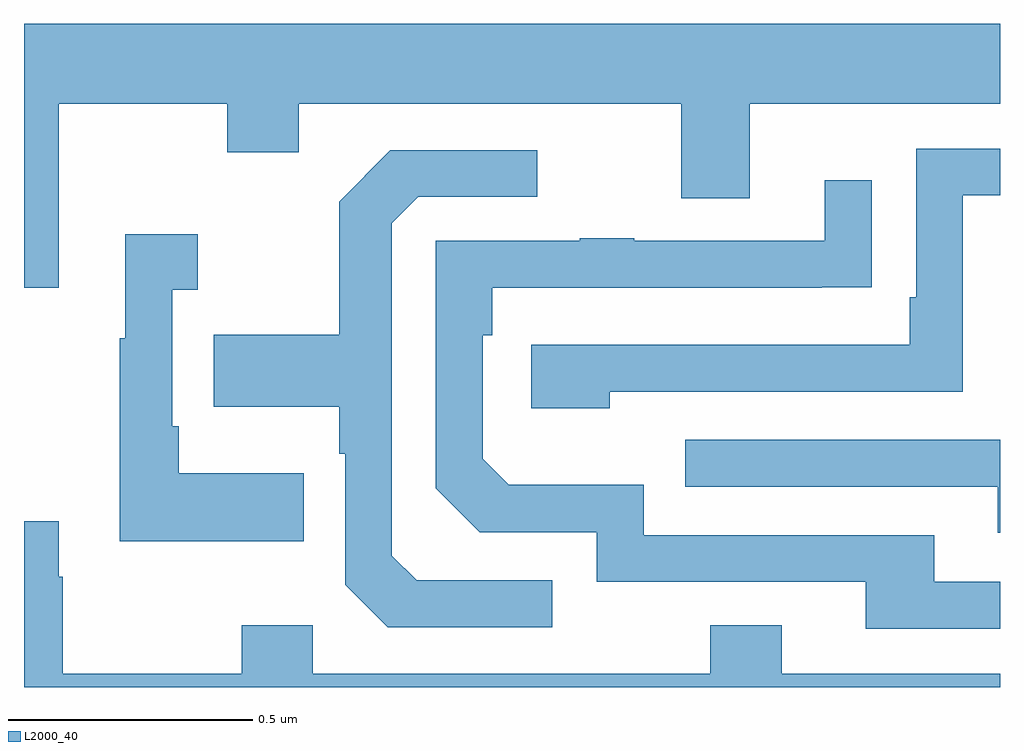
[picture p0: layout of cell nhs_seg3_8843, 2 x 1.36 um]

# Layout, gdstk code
import gdstk
lib = gdstk.Library(unit=1e-6, precision=1e-09)
def P(c, l, *ps):  # polygons
    for p in ps: c.add(gdstk.Polygon(p, *l))
L2000_40 = (2000, 40)

nhs_seg3_8843 = lib.new_cell('nhs_seg3_8843')
P(nhs_seg3_8843, L2000_40, [(221.071,687.596),(221.416,687.596),(221.416,687.497),(221.563,687.497),(221.563,687.596),(222.347,687.596),(222.347,687.402),(222.487,687.402),(222.487,687.596),(223,687.596),(223,687.76),(221,687.76),(221,687.219),(221.071,687.219)],
  [(222.2,687.006),(222.924,687.006),(222.924,687.408),(223,687.408),(223,687.504),(222.828,687.504),(222.828,687.199),(222.815,687.199),(222.815,687.102),(222.039,687.102),(222.039,686.972),(222.2,686.972)],
  [(222.082,686.619),(221.805,686.619),(221.754,686.67),(221.754,687.351),(221.808,687.405),(222.052,687.405),(222.052,687.501),(221.751,687.501),(221.646,687.395),(221.646,687.123),(221.389,687.123),(221.389,686.975),(221.646,686.975),(221.646,686.879),(221.658,686.879),(221.658,686.61),(221.745,686.523),(222.082,686.523)],
  [(223,686.616),(222.865,686.616),(222.865,686.712),(222.27,686.712),(222.27,686.815),(221.993,686.815),(221.94,686.868),(221.94,687.122),(221.96,687.122),(221.96,687.219),(222.635,687.219),(222.635,687.22),(222.737,687.22),(222.737,687.439),(222.641,687.439),(222.641,687.315),(222.251,687.315),(222.251,687.32),(222.139,687.32),(222.139,687.315),(221.844,687.315),(221.844,686.808),(221.934,686.718),(222.174,686.718),(222.174,686.616),(222.725,686.616),(222.725,686.52),(223,686.52)],
  [(221.573,686.839),(221.317,686.839),(221.317,686.935),(221.304,686.935),(221.304,687.215),(221.356,687.215),(221.356,687.328),(221.207,687.328),(221.207,687.115),(221.196,687.115),(221.196,686.699),(221.573,686.699)],
  [(223,686.907),(222.355,686.907),(222.355,686.811),(222.995,686.811),(222.995,686.717),(223,686.717)],
  [(223,686.428),(222.553,686.428),(222.553,686.527),(222.406,686.527),(222.406,686.428),(221.592,686.428),(221.592,686.527),(221.446,686.527),(221.446,686.428),(221.079,686.428),(221.079,686.627),(221.071,686.627),(221.071,686.74),(221,686.74),(221,686.4),(223,686.4)])

lib.write_gds('nhs_seg3_8843.gds')
